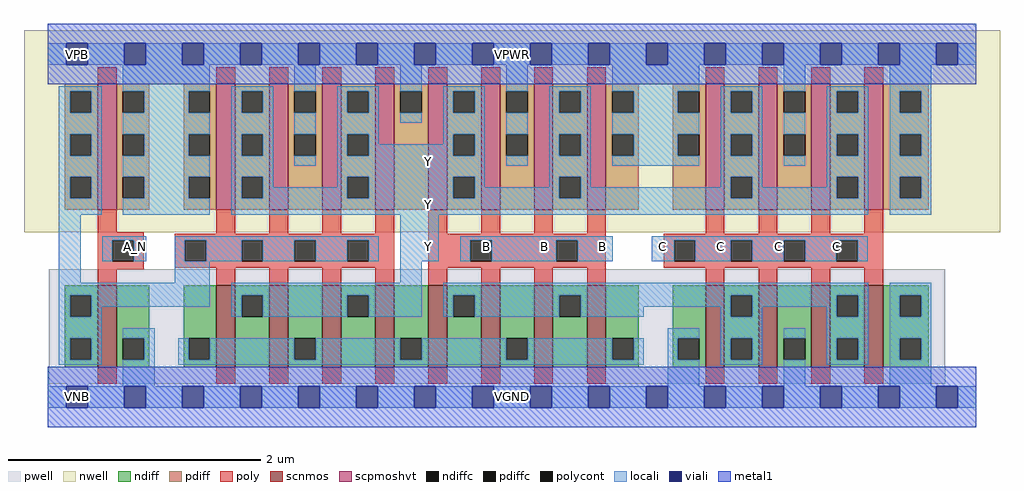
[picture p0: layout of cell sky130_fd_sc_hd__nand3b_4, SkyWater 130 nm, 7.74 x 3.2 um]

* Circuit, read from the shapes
.subckt sky130_fd_sc_hd__nand3b_4 A_N B C VGND VNB VPB VPWR Y
XM1 VGND A_N n1 VNB sky130_fd_pr__nfet_01v8 w=0.65 l=0.15
XM2 Y n1 n2 VNB sky130_fd_pr__nfet_01v8 w=0.65 l=0.15 m=4
XM3 n3 B n2 VNB sky130_fd_pr__nfet_01v8 w=0.65 l=0.15 m=4
XM4 n3 C VGND VNB sky130_fd_pr__nfet_01v8 w=0.65 l=0.15 m=4
XM5 VPWR A_N n1 VPB sky130_fd_pr__pfet_01v8_hvt w=1 l=0.15
XM6 Y n1 VPWR VPB sky130_fd_pr__pfet_01v8_hvt w=1 l=0.15 m=4
XM7 Y B VPWR VPB sky130_fd_pr__pfet_01v8_hvt w=1 l=0.15 m=4
XM8 Y C VPWR VPB sky130_fd_pr__pfet_01v8_hvt w=1 l=0.15 m=4
.ends

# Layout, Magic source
magic
tech sky130B
magscale 1 2
<< nwell >>
rect -38 261 1510 582
<< pwell >>
rect 1 21 1423 203
rect 30 -17 64 21
<< scnmos >>
rect 79 47 109 177
rect 267 47 297 177
rect 351 47 381 177
rect 435 47 465 177
rect 519 47 549 177
rect 603 47 633 177
rect 687 47 717 177
rect 771 47 801 177
rect 855 47 885 177
rect 1043 47 1073 177
rect 1127 47 1157 177
rect 1211 47 1241 177
rect 1295 47 1325 177
<< scpmoshvt >>
rect 79 297 109 497
rect 267 297 297 497
rect 351 297 381 497
rect 435 297 465 497
rect 519 297 549 497
rect 603 297 633 497
rect 687 297 717 497
rect 771 297 801 497
rect 855 297 885 497
rect 1043 297 1073 497
rect 1127 297 1157 497
rect 1211 297 1241 497
rect 1295 297 1325 497
<< ndiff >>
rect 27 161 79 177
rect 27 127 35 161
rect 69 127 79 161
rect 27 93 79 127
rect 27 59 35 93
rect 69 59 79 93
rect 27 47 79 59
rect 109 93 161 177
rect 109 59 119 93
rect 153 59 161 93
rect 109 47 161 59
rect 215 93 267 177
rect 215 59 223 93
rect 257 59 267 93
rect 215 47 267 59
rect 297 161 351 177
rect 297 127 307 161
rect 341 127 351 161
rect 297 47 351 127
rect 381 93 435 177
rect 381 59 391 93
rect 425 59 435 93
rect 381 47 435 59
rect 465 161 519 177
rect 465 127 475 161
rect 509 127 519 161
rect 465 47 519 127
rect 549 93 603 177
rect 549 59 559 93
rect 593 59 603 93
rect 549 47 603 59
rect 633 161 687 177
rect 633 127 643 161
rect 677 127 687 161
rect 633 47 687 127
rect 717 93 771 177
rect 717 59 727 93
rect 761 59 771 93
rect 717 47 771 59
rect 801 161 855 177
rect 801 127 811 161
rect 845 127 855 161
rect 801 47 855 127
rect 885 93 937 177
rect 885 59 895 93
rect 929 59 937 93
rect 885 47 937 59
rect 991 93 1043 177
rect 991 59 999 93
rect 1033 59 1043 93
rect 991 47 1043 59
rect 1073 161 1127 177
rect 1073 127 1083 161
rect 1117 127 1127 161
rect 1073 93 1127 127
rect 1073 59 1083 93
rect 1117 59 1127 93
rect 1073 47 1127 59
rect 1157 93 1211 177
rect 1157 59 1167 93
rect 1201 59 1211 93
rect 1157 47 1211 59
rect 1241 161 1295 177
rect 1241 127 1251 161
rect 1285 127 1295 161
rect 1241 93 1295 127
rect 1241 59 1251 93
rect 1285 59 1295 93
rect 1241 47 1295 59
rect 1325 161 1397 177
rect 1325 127 1351 161
rect 1385 127 1397 161
rect 1325 93 1397 127
rect 1325 59 1351 93
rect 1385 59 1397 93
rect 1325 47 1397 59
<< pdiff >>
rect 27 485 79 497
rect 27 451 35 485
rect 69 451 79 485
rect 27 417 79 451
rect 27 383 35 417
rect 69 383 79 417
rect 27 349 79 383
rect 27 315 35 349
rect 69 315 79 349
rect 27 297 79 315
rect 109 485 161 497
rect 109 451 119 485
rect 153 451 161 485
rect 109 417 161 451
rect 109 383 119 417
rect 153 383 161 417
rect 109 349 161 383
rect 109 315 119 349
rect 153 315 161 349
rect 109 297 161 315
rect 215 485 267 497
rect 215 451 223 485
rect 257 451 267 485
rect 215 417 267 451
rect 215 383 223 417
rect 257 383 267 417
rect 215 349 267 383
rect 215 315 223 349
rect 257 315 267 349
rect 215 297 267 315
rect 297 485 351 497
rect 297 451 307 485
rect 341 451 351 485
rect 297 417 351 451
rect 297 383 307 417
rect 341 383 351 417
rect 297 349 351 383
rect 297 315 307 349
rect 341 315 351 349
rect 297 297 351 315
rect 381 485 435 497
rect 381 451 391 485
rect 425 451 435 485
rect 381 417 435 451
rect 381 383 391 417
rect 425 383 435 417
rect 381 297 435 383
rect 465 485 519 497
rect 465 451 475 485
rect 509 451 519 485
rect 465 417 519 451
rect 465 383 475 417
rect 509 383 519 417
rect 465 349 519 383
rect 465 315 475 349
rect 509 315 519 349
rect 465 297 519 315
rect 549 485 603 497
rect 549 451 559 485
rect 593 451 603 485
rect 549 297 603 451
rect 633 485 687 497
rect 633 451 643 485
rect 677 451 687 485
rect 633 417 687 451
rect 633 383 643 417
rect 677 383 687 417
rect 633 349 687 383
rect 633 315 643 349
rect 677 315 687 349
rect 633 297 687 315
rect 717 485 771 497
rect 717 451 727 485
rect 761 451 771 485
rect 717 417 771 451
rect 717 383 727 417
rect 761 383 771 417
rect 717 297 771 383
rect 801 485 855 497
rect 801 451 811 485
rect 845 451 855 485
rect 801 417 855 451
rect 801 383 811 417
rect 845 383 855 417
rect 801 349 855 383
rect 801 315 811 349
rect 845 315 855 349
rect 801 297 855 315
rect 885 485 937 497
rect 885 451 895 485
rect 929 451 937 485
rect 885 417 937 451
rect 885 383 895 417
rect 929 383 937 417
rect 885 297 937 383
rect 991 485 1043 497
rect 991 451 999 485
rect 1033 451 1043 485
rect 991 417 1043 451
rect 991 383 999 417
rect 1033 383 1043 417
rect 991 297 1043 383
rect 1073 485 1127 497
rect 1073 451 1083 485
rect 1117 451 1127 485
rect 1073 417 1127 451
rect 1073 383 1083 417
rect 1117 383 1127 417
rect 1073 349 1127 383
rect 1073 315 1083 349
rect 1117 315 1127 349
rect 1073 297 1127 315
rect 1157 485 1211 497
rect 1157 451 1167 485
rect 1201 451 1211 485
rect 1157 417 1211 451
rect 1157 383 1167 417
rect 1201 383 1211 417
rect 1157 297 1211 383
rect 1241 485 1295 497
rect 1241 451 1251 485
rect 1285 451 1295 485
rect 1241 417 1295 451
rect 1241 383 1251 417
rect 1285 383 1295 417
rect 1241 349 1295 383
rect 1241 315 1251 349
rect 1285 315 1295 349
rect 1241 297 1295 315
rect 1325 485 1397 497
rect 1325 451 1351 485
rect 1385 451 1397 485
rect 1325 417 1397 451
rect 1325 383 1351 417
rect 1385 383 1397 417
rect 1325 349 1397 383
rect 1325 315 1351 349
rect 1385 315 1397 349
rect 1325 297 1397 315
<< ndiffc >>
rect 35 127 69 161
rect 35 59 69 93
rect 119 59 153 93
rect 223 59 257 93
rect 307 127 341 161
rect 391 59 425 93
rect 475 127 509 161
rect 559 59 593 93
rect 643 127 677 161
rect 727 59 761 93
rect 811 127 845 161
rect 895 59 929 93
rect 999 59 1033 93
rect 1083 127 1117 161
rect 1083 59 1117 93
rect 1167 59 1201 93
rect 1251 127 1285 161
rect 1251 59 1285 93
rect 1351 127 1385 161
rect 1351 59 1385 93
<< pdiffc >>
rect 35 451 69 485
rect 35 383 69 417
rect 35 315 69 349
rect 119 451 153 485
rect 119 383 153 417
rect 119 315 153 349
rect 223 451 257 485
rect 223 383 257 417
rect 223 315 257 349
rect 307 451 341 485
rect 307 383 341 417
rect 307 315 341 349
rect 391 451 425 485
rect 391 383 425 417
rect 475 451 509 485
rect 475 383 509 417
rect 475 315 509 349
rect 559 451 593 485
rect 643 451 677 485
rect 643 383 677 417
rect 643 315 677 349
rect 727 451 761 485
rect 727 383 761 417
rect 811 451 845 485
rect 811 383 845 417
rect 811 315 845 349
rect 895 451 929 485
rect 895 383 929 417
rect 999 451 1033 485
rect 999 383 1033 417
rect 1083 451 1117 485
rect 1083 383 1117 417
rect 1083 315 1117 349
rect 1167 451 1201 485
rect 1167 383 1201 417
rect 1251 451 1285 485
rect 1251 383 1285 417
rect 1251 315 1285 349
rect 1351 451 1385 485
rect 1351 383 1385 417
rect 1351 315 1385 349
<< poly >>
rect 79 497 109 523
rect 267 497 297 523
rect 351 497 381 523
rect 435 497 465 523
rect 519 497 549 523
rect 603 497 633 523
rect 687 497 717 523
rect 771 497 801 523
rect 855 497 885 523
rect 1043 497 1073 523
rect 1127 497 1157 523
rect 1211 497 1241 523
rect 1295 497 1325 523
rect 79 261 109 297
rect 79 249 152 261
rect 267 259 297 297
rect 351 259 381 297
rect 435 259 465 297
rect 519 259 549 297
rect 79 215 102 249
rect 136 215 152 249
rect 79 203 152 215
rect 201 249 549 259
rect 201 215 217 249
rect 251 215 307 249
rect 341 215 391 249
rect 425 215 475 249
rect 509 215 549 249
rect 201 205 549 215
rect 79 177 109 203
rect 267 177 297 205
rect 351 177 381 205
rect 435 177 465 205
rect 519 177 549 205
rect 603 259 633 297
rect 687 259 717 297
rect 771 259 801 297
rect 855 259 885 297
rect 1043 259 1073 297
rect 1127 259 1157 297
rect 1211 259 1241 297
rect 1295 259 1325 297
rect 603 249 885 259
rect 603 215 670 249
rect 704 215 806 249
rect 840 215 885 249
rect 603 205 885 215
rect 977 249 1325 259
rect 977 215 993 249
rect 1027 215 1083 249
rect 1117 215 1167 249
rect 1201 215 1250 249
rect 1284 215 1325 249
rect 977 205 1325 215
rect 603 177 633 205
rect 687 177 717 205
rect 771 177 801 205
rect 855 177 885 205
rect 1043 177 1073 205
rect 1127 177 1157 205
rect 1211 177 1241 205
rect 1295 177 1325 205
rect 79 21 109 47
rect 267 21 297 47
rect 351 21 381 47
rect 435 21 465 47
rect 519 21 549 47
rect 603 21 633 47
rect 687 21 717 47
rect 771 21 801 47
rect 855 21 885 47
rect 1043 21 1073 47
rect 1127 21 1157 47
rect 1211 21 1241 47
rect 1295 21 1325 47
<< polycont >>
rect 102 215 136 249
rect 217 215 251 249
rect 307 215 341 249
rect 391 215 425 249
rect 475 215 509 249
rect 670 215 704 249
rect 806 215 840 249
rect 993 215 1027 249
rect 1083 215 1117 249
rect 1167 215 1201 249
rect 1250 215 1284 249
<< locali >>
rect 0 527 29 561
rect 63 527 121 561
rect 155 527 213 561
rect 247 527 305 561
rect 339 527 397 561
rect 431 527 489 561
rect 523 527 581 561
rect 615 527 673 561
rect 707 527 765 561
rect 799 527 857 561
rect 891 527 949 561
rect 983 527 1041 561
rect 1075 527 1133 561
rect 1167 527 1225 561
rect 1259 527 1317 561
rect 1351 527 1409 561
rect 1443 527 1472 561
rect 17 485 85 493
rect 17 451 35 485
rect 69 451 85 485
rect 17 417 85 451
rect 17 383 35 417
rect 69 383 85 417
rect 17 349 85 383
rect 17 315 35 349
rect 69 315 85 349
rect 17 289 85 315
rect 119 485 257 527
rect 153 451 223 485
rect 119 417 257 451
rect 153 383 223 417
rect 119 349 257 383
rect 153 315 223 349
rect 119 289 257 315
rect 291 485 357 493
rect 291 451 307 485
rect 341 451 357 485
rect 291 417 357 451
rect 291 383 307 417
rect 341 383 357 417
rect 291 349 357 383
rect 391 485 425 527
rect 391 417 425 451
rect 391 367 425 383
rect 459 485 525 493
rect 459 451 475 485
rect 509 451 525 485
rect 459 417 525 451
rect 559 485 593 527
rect 559 435 593 451
rect 627 485 693 493
rect 627 451 643 485
rect 677 451 693 485
rect 459 383 475 417
rect 509 401 525 417
rect 627 417 693 451
rect 627 401 643 417
rect 509 383 643 401
rect 677 383 693 417
rect 291 315 307 349
rect 341 333 357 349
rect 459 349 693 383
rect 727 485 761 527
rect 727 417 761 451
rect 727 367 761 383
rect 795 485 861 493
rect 795 451 811 485
rect 845 451 861 485
rect 795 417 861 451
rect 795 383 811 417
rect 845 383 861 417
rect 459 333 475 349
rect 341 315 475 333
rect 509 315 643 349
rect 677 333 693 349
rect 795 349 861 383
rect 895 485 1033 527
rect 929 451 999 485
rect 895 417 1033 451
rect 929 383 999 417
rect 895 367 1033 383
rect 1067 485 1133 493
rect 1067 451 1083 485
rect 1117 451 1133 485
rect 1067 417 1133 451
rect 1067 383 1083 417
rect 1117 383 1133 417
rect 795 333 811 349
rect 677 315 811 333
rect 845 333 861 349
rect 1067 349 1133 383
rect 1167 485 1201 527
rect 1167 417 1201 451
rect 1167 367 1201 383
rect 1235 485 1301 493
rect 1235 451 1251 485
rect 1285 451 1301 485
rect 1235 417 1301 451
rect 1235 383 1251 417
rect 1285 383 1301 417
rect 1067 333 1083 349
rect 845 315 1083 333
rect 1117 333 1133 349
rect 1235 349 1301 383
rect 1235 333 1251 349
rect 1117 315 1251 333
rect 1285 315 1301 349
rect 291 289 1301 315
rect 1335 485 1401 527
rect 1335 451 1351 485
rect 1385 451 1401 485
rect 1335 417 1401 451
rect 1335 383 1351 417
rect 1385 383 1401 417
rect 1335 349 1401 383
rect 1335 315 1351 349
rect 1385 315 1401 349
rect 1335 289 1401 315
rect 17 181 52 289
rect 86 249 156 255
rect 86 215 102 249
rect 136 215 156 249
rect 201 249 525 255
rect 201 215 217 249
rect 251 215 307 249
rect 341 215 391 249
rect 425 215 475 249
rect 509 215 525 249
rect 559 215 620 289
rect 654 249 896 255
rect 654 215 670 249
rect 704 215 806 249
rect 840 215 896 249
rect 958 249 1300 255
rect 958 215 993 249
rect 1027 215 1083 249
rect 1117 215 1167 249
rect 1201 215 1250 249
rect 1284 215 1300 249
rect 201 181 257 215
rect 559 181 593 215
rect 17 161 257 181
rect 17 127 35 161
rect 69 143 257 161
rect 291 161 593 181
rect 69 127 85 143
rect 291 127 307 161
rect 341 127 475 161
rect 509 127 593 161
rect 627 161 1301 181
rect 627 127 643 161
rect 677 127 811 161
rect 845 143 1083 161
rect 845 127 945 143
rect 1067 127 1083 143
rect 1117 143 1251 161
rect 1117 127 1133 143
rect 17 93 85 127
rect 17 59 35 93
rect 69 59 85 93
rect 17 51 85 59
rect 119 93 169 109
rect 983 93 1033 109
rect 153 59 169 93
rect 119 17 169 59
rect 207 59 223 93
rect 257 59 391 93
rect 425 59 559 93
rect 593 59 727 93
rect 761 59 895 93
rect 929 59 945 93
rect 207 51 945 59
rect 983 59 999 93
rect 983 17 1033 59
rect 1067 93 1133 127
rect 1235 127 1251 143
rect 1285 127 1301 161
rect 1067 59 1083 93
rect 1117 59 1133 93
rect 1067 51 1133 59
rect 1167 93 1201 109
rect 1167 17 1201 59
rect 1235 93 1301 127
rect 1235 59 1251 93
rect 1285 59 1301 93
rect 1235 51 1301 59
rect 1335 161 1401 181
rect 1335 127 1351 161
rect 1385 127 1401 161
rect 1335 93 1401 127
rect 1335 59 1351 93
rect 1385 59 1401 93
rect 1335 17 1401 59
rect 0 -17 29 17
rect 63 -17 121 17
rect 155 -17 213 17
rect 247 -17 305 17
rect 339 -17 397 17
rect 431 -17 489 17
rect 523 -17 581 17
rect 615 -17 673 17
rect 707 -17 765 17
rect 799 -17 857 17
rect 891 -17 949 17
rect 983 -17 1041 17
rect 1075 -17 1133 17
rect 1167 -17 1225 17
rect 1259 -17 1317 17
rect 1351 -17 1409 17
rect 1443 -17 1472 17
<< viali >>
rect 29 527 63 561
rect 121 527 155 561
rect 213 527 247 561
rect 305 527 339 561
rect 397 527 431 561
rect 489 527 523 561
rect 581 527 615 561
rect 673 527 707 561
rect 765 527 799 561
rect 857 527 891 561
rect 949 527 983 561
rect 1041 527 1075 561
rect 1133 527 1167 561
rect 1225 527 1259 561
rect 1317 527 1351 561
rect 1409 527 1443 561
rect 29 -17 63 17
rect 121 -17 155 17
rect 213 -17 247 17
rect 305 -17 339 17
rect 397 -17 431 17
rect 489 -17 523 17
rect 581 -17 615 17
rect 673 -17 707 17
rect 765 -17 799 17
rect 857 -17 891 17
rect 949 -17 983 17
rect 1041 -17 1075 17
rect 1133 -17 1167 17
rect 1225 -17 1259 17
rect 1317 -17 1351 17
rect 1409 -17 1443 17
<< metal1 >>
rect 0 561 1472 592
rect 0 527 29 561
rect 63 527 121 561
rect 155 527 213 561
rect 247 527 305 561
rect 339 527 397 561
rect 431 527 489 561
rect 523 527 581 561
rect 615 527 673 561
rect 707 527 765 561
rect 799 527 857 561
rect 891 527 949 561
rect 983 527 1041 561
rect 1075 527 1133 561
rect 1167 527 1225 561
rect 1259 527 1317 561
rect 1351 527 1409 561
rect 1443 527 1472 561
rect 0 496 1472 527
rect 0 17 1472 48
rect 0 -17 29 17
rect 63 -17 121 17
rect 155 -17 213 17
rect 247 -17 305 17
rect 339 -17 397 17
rect 431 -17 489 17
rect 523 -17 581 17
rect 615 -17 673 17
rect 707 -17 765 17
rect 799 -17 857 17
rect 891 -17 949 17
rect 983 -17 1041 17
rect 1075 -17 1133 17
rect 1167 -17 1225 17
rect 1259 -17 1317 17
rect 1351 -17 1409 17
rect 1443 -17 1472 17
rect 0 -48 1472 -17
<< labels >>
flabel locali s 122 221 156 255 0 FreeSans 200 0 0 0 A_N
port 1 nsew signal input
flabel locali s 586 221 620 255 0 FreeSans 200 0 0 0 Y
port 8 nsew signal output
flabel locali s 586 357 620 391 0 FreeSans 200 0 0 0 Y
port 8 nsew signal output
flabel locali s 862 221 896 255 0 FreeSans 200 0 0 0 B
port 2 nsew signal input
flabel locali s 770 221 804 255 0 FreeSans 200 0 0 0 B
port 2 nsew signal input
flabel locali s 678 221 712 255 0 FreeSans 200 0 0 0 B
port 2 nsew signal input
flabel locali s 958 221 992 255 0 FreeSans 200 0 0 0 C
port 3 nsew signal input
flabel locali s 1050 221 1084 255 0 FreeSans 200 0 0 0 C
port 3 nsew signal input
flabel locali s 1142 221 1176 255 0 FreeSans 200 0 0 0 C
port 3 nsew signal input
flabel locali s 1234 221 1268 255 0 FreeSans 200 0 0 0 C
port 3 nsew signal input
flabel locali s 586 289 620 323 0 FreeSans 200 0 0 0 Y
port 8 nsew signal output
flabel pwell s 30 -17 64 17 0 FreeSans 200 0 0 0 VNB
port 5 nsew ground bidirectional
flabel nwell s 30 527 64 561 0 FreeSans 200 0 0 0 VPB
port 6 nsew power bidirectional
flabel metal1 s 30 -17 64 17 0 FreeSans 200 0 0 0 VGND
port 4 nsew ground bidirectional abutment
flabel metal1 s 30 527 64 561 0 FreeSans 200 0 0 0 VPWR
port 7 nsew power bidirectional abutment
rlabel comment s 0 0 0 0 4 nand3b_4
rlabel metal1 s 0 -48 1472 48 1 VGND
port 4 nsew ground bidirectional abutment
rlabel metal1 s 0 496 1472 592 1 VPWR
port 7 nsew power bidirectional abutment
<< properties >>
string FIXED_BBOX 0 0 1472 544
string GDS_END 1862796
string GDS_FILE $PDKPATH/libs.ref/sky130_fd_sc_hd/gds/sky130_fd_sc_hd.gds
string GDS_START 1851010
string LEFclass CORE
string LEFsite unithd
string LEFsymmetry X Y R90
string path 0.000 0.000 36.800 0.000 
<< end >>
